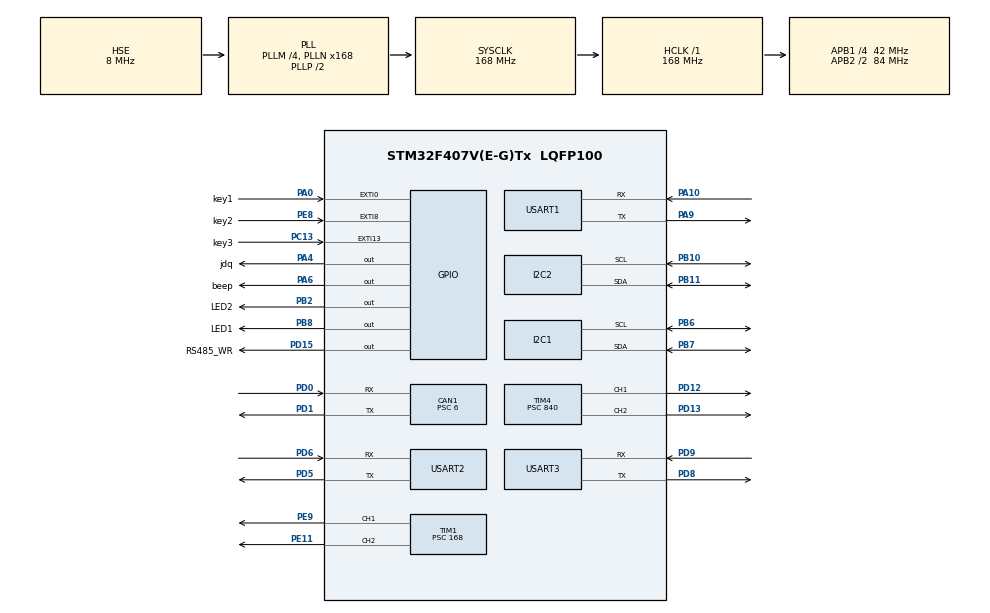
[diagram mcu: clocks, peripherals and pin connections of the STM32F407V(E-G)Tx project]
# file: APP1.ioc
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ADC1.Channel-3\#ChannelRegularConversion=ADC_CHANNEL_TEMPSENSOR
ADC1.NbrOfConversionFlag=1
ADC1.Rank-3\#ChannelRegularConversion=1
ADC1.SamplingTime-3\#ChannelRegularConversion=ADC_SAMPLETIME_56CYCLES
ADC1.master=1
CAN1.BS1=CAN_BS1_11TQ
CAN1.BS2=CAN_BS2_2TQ
CAN1.CalculateBaudRate=500000
CAN1.CalculateTimeBit=2000
CAN1.CalculateTimeQuantum=142.85714285714286
CAN1.Prescaler=6
Dma.Request0=USART1_RX
Dma.Request1=USART2_RX
Dma.USART1_RX.0.Direction=DMA_PERIPH_TO_MEMORY
Dma.USART1_RX.0.FIFOMode=DMA_FIFOMODE_DISABLE
Dma.USART1_RX.0.Instance=DMA2_Stream2
Dma.USART1_RX.0.MemDataAlignment=DMA_MDATAALIGN_BYTE
Dma.USART1_RX.0.MemInc=DMA_MINC_ENABLE
Dma.USART1_RX.0.Mode=DMA_CIRCULAR
Dma.USART1_RX.0.PeriphDataAlignment=DMA_PDATAALIGN_BYTE
Dma.USART1_RX.0.PeriphInc=DMA_PINC_DISABLE
Dma.USART1_RX.0.Priority=DMA_PRIORITY_LOW
Dma.USART2_RX.1.Direction=DMA_PERIPH_TO_MEMORY
Dma.USART2_RX.1.FIFOMode=DMA_FIFOMODE_DISABLE
Dma.USART2_RX.1.Instance=DMA1_Stream5
Dma.USART2_RX.1.MemDataAlignment=DMA_MDATAALIGN_BYTE
Dma.USART2_RX.1.MemInc=DMA_MINC_ENABLE
Dma.USART2_RX.1.Mode=DMA_CIRCULAR
Dma.USART2_RX.1.PeriphDataAlignment=DMA_PDATAALIGN_BYTE
Dma.USART2_RX.1.PeriphInc=DMA_PINC_DISABLE
Dma.USART2_RX.1.Priority=DMA_PRIORITY_HIGH
Mcu.Family=STM32F4
Mcu.Name=STM32F407V(E-G)Tx
Mcu.Package=LQFP100
NVIC.CAN1_RX0_IRQn=true\:0\:0\:false\:false\:true\:true\:true\:true
NVIC.DMA1_Stream5_IRQn=true\:0\:0\:false\:false\:true\:false\:true\:true
NVIC.DMA2_Stream2_IRQn=true\:5\:0\:true\:false\:true\:false\:true\:true
NVIC.EXTI15_10_IRQn=true\:5\:0\:true\:false\:true\:true\:true\:true
NVIC.EXTI9_5_IRQn=true\:5\:0\:true\:false\:true\:true\:true\:true
NVIC.PriorityGroup=NVIC_PRIORITYGROUP_4
NVIC.TIM2_IRQn=true\:0\:0\:false\:false\:true\:true\:true\:true
NVIC.TIM3_IRQn=true\:5\:0\:true\:false\:true\:true\:true\:true
NVIC.TIM4_IRQn=true\:5\:0\:true\:false\:false\:true\:true\:true
NVIC.TIM5_IRQn=true\:0\:0\:false\:false\:true\:true\:true\:true
NVIC.TIM7_IRQn=true\:5\:0\:true\:false\:true\:false\:true\:true
NVIC.TimeBase=TIM7_IRQn
NVIC.TimeBaseIP=TIM7
NVIC.USART1_IRQn=true\:5\:0\:true\:false\:false\:true\:true\:true
NVIC.USART2_IRQn=true\:0\:0\:false\:false\:true\:true\:true\:true
NVIC.USART3_IRQn=true\:5\:0\:true\:false\:false\:true\:true\:true
NVIC.WWDG_IRQn=true\:5\:0\:true\:false\:true\:true\:true\:true
PA0-WKUP.GPIO_Label=key1
PA0-WKUP.Signal=GPXTI0
PA10.Mode=Asynchronous
PA10.Signal=USART1_RX
PA13.Mode=Serial_Wire
PA13.Signal=SYS_JTMS-SWDIO
PA14.Mode=Serial_Wire
PA14.Signal=SYS_JTCK-SWCLK
PA4.GPIO_Label=jdq
PA4.PinState=GPIO_PIN_SET
PA4.Signal=GPIO_Output
PA6.GPIO_Label=beep
PA6.Signal=GPIO_Output
PA9.Mode=Asynchronous
PA9.Signal=USART1_TX
PB10.Mode=I2C
PB10.Signal=I2C2_SCL
PB11.Mode=I2C
PB11.Signal=I2C2_SDA
PB2.GPIO_Label=LED2
PB2.PinState=GPIO_PIN_RESET
PB2.Signal=GPIO_Output
PB6.Mode=I2C
PB6.Signal=I2C1_SCL
PB7.Mode=I2C
PB7.Signal=I2C1_SDA
PB8.GPIO_Label=LED1
PB8.GPIO_ModeDefaultOutputPP=GPIO_MODE_OUTPUT_PP
PB8.PinState=GPIO_PIN_SET
PB8.Signal=GPIO_Output
PC0.Signal=ADCx_IN10
PC13-ANTI_TAMP.GPIO_Label=key3
PC13-ANTI_TAMP.GPIO_PuPd=GPIO_PULLDOWN
PC13-ANTI_TAMP.Signal=GPXTI13
PC14-OSC32_IN.Mode=LSE-External-Oscillator
PC14-OSC32_IN.Signal=RCC_OSC32_IN
PC15-OSC32_OUT.Mode=LSE-External-Oscillator
PC15-OSC32_OUT.Signal=RCC_OSC32_OUT
PD0.Mode=CAN_Activate
PD0.Signal=CAN1_RX
PD1.Mode=CAN_Activate
PD1.Signal=CAN1_TX
PD12.Signal=S_TIM4_CH1
PD13.Signal=S_TIM4_CH2
PD15.GPIO_Label=RS485_WR
PD15.GPIO_Speed=GPIO_SPEED_FREQ_HIGH
PD15.Signal=GPIO_Output
PD5.Mode=Asynchronous
PD5.Signal=USART2_TX
PD6.Mode=Asynchronous
PD6.Signal=USART2_RX
PD8.Mode=Asynchronous
PD8.Signal=USART3_TX
PD9.Mode=Asynchronous
PD9.Signal=USART3_RX
PE11.Signal=S_TIM1_CH2
PE8.GPIO_Label=key2
PE8.GPIO_PuPd=GPIO_PULLDOWN
PE8.Signal=GPXTI8
PE9.Signal=S_TIM1_CH1
PH0-OSC_IN.Mode=HSE-External-Oscillator
PH0-OSC_IN.Signal=RCC_OSC_IN
PH1-OSC_OUT.Mode=HSE-External-Oscillator
PH1-OSC_OUT.Signal=RCC_OSC_OUT
ProjectManager.HeapSize=0x400
ProjectManager.StackSize=0x800
ProjectManager.TargetToolchain=CMake
RCC.48MHZClocksFreq_Value=84000000
RCC.AHBFreq_Value=168000000
RCC.APB1CLKDivider=RCC_HCLK_DIV4
RCC.APB1Freq_Value=42000000
RCC.APB1TimFreq_Value=84000000
RCC.APB2CLKDivider=RCC_HCLK_DIV2
RCC.APB2Freq_Value=84000000
RCC.APB2TimFreq_Value=168000000
RCC.CortexFreq_Value=168000000
RCC.HCLKFreq_Value=168000000
RCC.HSE_VALUE=8000000
RCC.HSI_VALUE=16000000
RCC.PLLM=4
RCC.PLLN=168
RCC.PLLSourceVirtual=RCC_PLLSOURCE_HSE
RCC.RCC_RTC_Clock_Source=RCC_RTCCLKSOURCE_LSE
RCC.RCC_RTC_Clock_SourceVirtual=RCC_RTCCLKSOURCE_LSE
RCC.SYSCLKFreq_VALUE=168000000
RCC.SYSCLKSource=RCC_SYSCLKSOURCE_PLLCLK
RCC.VCOOutputFreq_Value=336000000
RTC.Date=13
RTC.Hours=18
RTC.Minutes=5
RTC.Month=RTC_MONTH_MAY
RTC.Year=26
SH.ADCx_IN10.0=ADC1_IN10
SH.S_TIM1_CH1.0=TIM1_CH1,PWM Generation1 CH1
SH.S_TIM1_CH2.0=TIM1_CH2,PWM Generation2 CH2
SH.S_TIM4_CH1.0=TIM4_CH1,PWM Generation1 CH1
SH.S_TIM4_CH2.0=TIM4_CH2,PWM Generation2 CH2
TIM1.Channel-PWM\ Generation1\ CH1=TIM_CHANNEL_1
TIM1.Channel-PWM\ Generation2\ CH2=TIM_CHANNEL_2
TIM1.Period=100
TIM1.Prescaler=168
TIM2.AutoReloadPreload=TIM_AUTORELOAD_PRELOAD_ENABLE
TIM2.Period=2000
TIM2.Prescaler=84-1
TIM3.AutoReloadPreload=TIM_AUTORELOAD_PRELOAD_ENABLE
TIM3.Period=5000
TIM3.Prescaler=8400-1
TIM4.AutoReloadPreload=TIM_AUTORELOAD_PRELOAD_ENABLE
TIM4.Channel-PWM\ Generation1\ CH1=TIM_CHANNEL_1
TIM4.Channel-PWM\ Generation2\ CH2=TIM_CHANNEL_2
TIM4.OCMode_PWM-PWM\ Generation2\ CH2=TIM_OCMODE_PWM1
TIM4.Period=100
TIM4.Prescaler=840
TIM5.Period=10
TIM5.Prescaler=840-1
USART1.VirtualMode=VM_ASYNC
USART2.VirtualMode=VM_ASYNC
USART3.VirtualMode=VM_ASYNC
VP_ADC1_TempSens_Input.Mode=IN-TempSens
VP_CRC_VS_CRC.Mode=CRC_Activate
VP_IWDG_VS_IWDG.Mode=IWDG_Activate
VP_RTC_VS_RTC_Activate.Mode=RTC_Enabled
VP_RTC_VS_RTC_Calendar.Mode=RTC_Calendar
VP_SYS_VS_tim7.Mode=TIM7
VP_TIM1_VS_ClockSourceINT.Mode=Internal
VP_TIM2_VS_ClockSourceINT.Mode=Internal
VP_TIM3_VS_ClockSourceINT.Mode=Internal
VP_TIM4_VS_ClockSourceINT.Mode=Internal
VP_TIM5_VS_ClockSourceINT.Mode=Internal
VP_WWDG_VS_WWDG.Mode=WWDG_Activate
WWDG.Counter=127
WWDG.EWIMode=WWDG_EWI_ENABLE
WWDG.Prescaler=WWDG_PRESCALER_8
WWDG.Window=95
board=custom

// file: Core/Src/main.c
/* USER CODE BEGIN Header */
/**
  ******************************************************************************
  * @file           : main.c
  * @brief          : Main program body
  ******************************************************************************
  * @attention
  *
  * Copyright (c) 2026 STMicroelectronics.
  * All rights reserved.
  *
  * This software is licensed under terms that can be found in the LICENSE file
  * in the root directory of this software component.
  * If no LICENSE file comes with this software, it is provided AS-IS.
  *
  ******************************************************************************
  */
/* USER CODE END Header */
#include "main.h"
#include "adc.h"
#include "can.h"
#include "crc.h"
#include "dma.h"
#include "i2c.h"
#include "iwdg.h"
#include "rtc.h"
#include "tim.h"
#include "usart.h"
#include "wwdg.h"
#include "gpio.h"

/* USER CODE BEGIN Includes */
#include "stdio.h"
#include "AHT20.h"
#include "FreeRTOS_Demo.h"
#include "ina226.h"
#include "sd3078.h"
#include "mb.h"
#include "modbus.h"
#include "wifi4g.h"
#include "mqtt.h"
#include "canfestival.h"
#include "flash.h"
#include "testslave.h"
#include "../../Core/Inc/can.h"
/* USER CODE END Includes */

void SystemClock_Config(void);

int main(void)
{

  /* USER CODE BEGIN 1 */
  /*************************** 中断向量表动态偏移 *******************************/
  // 优先级: 看门狗恢复标志(-8) > 运行标志(-4) > 默认APP2
  uint32_t app1_wdt_flag = MyFlash_ReadWord(Application_1_Addr + Application_Size - 8);
  uint32_t app2_wdt_flag = MyFlash_ReadWord(Application_2_Addr + Application_Size - 8);
  /*************************** 看门狗恢复标志检查 *******************************/
  if (app1_wdt_flag == 0x55555555) {
    SCB->VTOR = FLASH_BASE | Application_1_Addr;
  } else if (app2_wdt_flag == 0x55555555) {
    SCB->VTOR = FLASH_BASE | Application_2_Addr;
  } else {
  /*************************** 运行标志检查 *******************************/
    uint32_t app1_run_flag = MyFlash_ReadWord(Application_1_Addr + Application_Size - 4);
    uint32_t app2_run_flag = MyFlash_ReadWord(Application_2_Addr + Application_Size - 4);

    if (app1_run_flag == 0xAAAAAAAA) {
      SCB->VTOR = FLASH_BASE | Application_1_Addr;
    } else if (app2_run_flag == 0xAAAAAAAA) {
      SCB->VTOR = FLASH_BASE | Application_2_Addr;
    } else {
      SCB->VTOR = FLASH_BASE | Application_2_Addr;  // 默认APP2
    }
  }
  __enable_irq();
  /*************************** 中断向量表偏移完成 *******************************/
  /* USER CODE END 1 */

  /* MCU Configuration--------------------------------------------------------*/

  /* Reset of all peripherals, Initializes the Flash interface and the Systick. */
  HAL_Init();

  /* Configure the system clock */
  SystemClock_Config();
  MX_IWDG_Init();
  /* USER CODE BEGIN SysInit */
  /***************************自动偏移中断向量表地址（根据app1或app2的更新标志位来判断）*******************************/

  /* USER CODE END SysInit */

  /* Initialize all configured peripherals */
  MX_GPIO_Init();
  MX_DMA_Init();
  MX_USART1_UART_Init();
  MX_I2C1_Init();
  MX_TIM1_Init();
  MX_TIM4_Init();
  MX_I2C2_Init();
  // MX_WWDG_Init();
  MX_RTC_Init();
  MX_ADC1_Init();

  MX_USART2_UART_Init();
  MX_USART3_UART_Init();
  MX_TIM3_Init();
  MX_TIM5_Init();
  MX_CAN1_Init();
  MX_TIM2_Init();
  MX_CRC_Init();
  HAL_IWDG_Refresh(&hiwdg) ; // 刷新看门狗
  /* USER CODE BEGIN 2 */
 // HAL_UART_Receive_IT(&huart1, RX1_Buf , 16); // 使能串UART1接收中断

  /*
  //定时器5 用于10ms中断,//                             不自动重装计数器
  //定时器2 用于1us中断, 用于更新时间
  //定时器3用于500ms中断, 用于modbus通信更新传感器数据时间   自动重装计数器
  //定时器4 用于modbus通信50us定时器//  被modbus使用
  //定时器7 用于hal 1ms中断, 用于更新时间
  //定时器sysTick 用于freeRTOS系统时间更新
  //串口3 用于modbus通信
  //串口2 用于wifi4g（mqtt）通信
  //串口1 用于主机通信
  */
  // RTC_Time_t t = {
  //       .sec   =  0,
  //       .min   = 46,
  //       .hour  = 0,
  //       .week  =  6,                  // 会自动修正，任意值即可
  //       .day   = 17,
  //       .month =  5,
  //       .year  = 2026 % 100
  //   };

  printf("MQTT TEST\n");
  // printf("PWR Sleep Test\n");
  __HAL_UART_ENABLE_IT(&huart1, UART_IT_IDLE); //使能串UART1 IDLE(空闲)中断
  HAL_UART_Receive_DMA(&huart1, RX1_Buf, DMA_BUF_SIZE); //设置DMA传输，将uart1的数据搬运到RX1_Buf中
  __HAL_UART_ENABLE_IT(&huart2, UART_IT_IDLE); //使能串UART2 IDLE(空闲)中断
  HAL_UART_Receive_DMA(&huart2, RX2_Buf, DMA_BUF_SIZE); //设置DMA传输，将uart2的数据搬运到RX2_Buf中
  // OLED_Init();
  // OLED_Fill(0x00);//全屏灭
  AHT20_Init();
  INA226_Init();

  // SD3078_SetTime((RTC_Time_t *)&t);
  // RTC_SetDateTime(26,5,17,0,46,0);
  /*************************** 写入运行标志(仅首次启动) *******************************/
  // Flash物理限制: 只能1→0, 0→1需擦除. 0x00000000无法写回0xAAAAAAAA
  // 因此仅在擦除态(0xFFFFFFFF)时写入, OTA后已写好/看门狗恢复时则跳过
  if (MyFlash_ReadWord(Application_2_Addr + Application_Size - 4) == 0xFFFFFFFF) {
    uint32_t update2_flag = 0xAAAAAAAA;
    MyFlash_Save(Application_2_Addr + Application_Size - 4, (char *)&update2_flag, 4);
  }
  /*************************** 运行标志写入完成 *******************************/
  FreeRTOS_Start();
  /* USER CODE END 2 */

  /* Infinite loop */
  /* USER CODE BEGIN WHILE */
  while (1)
  {
    // eMBPoll();
//     Modbus_parse();
// 	  ADC_CPU_Test();
// 	  AHT20_Test();
// //	  ADC_VR_Test();
// 	  RTC_Test();
// 	  //HAL_Delay(1000);
// 	  SD3078_GetTime((RTC_Time_t *)&t);
// 	 printf("%04d-%02d-%02d %02d:%02d:%02d\n",2000+t.year,t.month,t.day,
// t.hour,t.min,t.sec);

//	GPIO_Control(LED1,OFF); // LED1 亮
//    HAL_Delay(2000); //  延时2秒
//    GPIO_Control(LED1,ON); // LED1 灭
//    printf("System is Running\n");
//    // 使用 LED2指示, 系统进入睡眠模式
//   // GPIO_Control(LED2,ON);  // LED2 亮
//    HAL_SuspendTick() ;// 暂停 滴答定时器 ， 因为嘀嗒定时器会产生1ms的中断， 必须关掉
//    printf("System is sleeping\n");
//    HAL_PWR_EnterSLEEPMode(PWR_MAINREGULATOR_ON,PWR_SLEEPENTRY_WFI) ; // 进入睡眠模式
//    // 等待被唤醒 ........  , 可以按下6个按键中的任何一个即可唤醒 , 最好按下ESC,因为ESC默认动作时关闭蜂鸣器
//    // 被唤醒后
//    printf("System is wakeup\n");
//  //  GPIO_Control(LED1,OFF);  // LED2 灭
//    HAL_ResumeTick(); //  恢复滴答定时器的计时
    /* USER CODE END WHILE */

  }
}

void SystemClock_Config(void)
{
  RCC_OscInitTypeDef RCC_OscInitStruct = {0};
  RCC_ClkInitTypeDef RCC_ClkInitStruct = {0};

  /** Configure the main internal regulator output voltage
  */
  __HAL_RCC_PWR_CLK_ENABLE();
  __HAL_PWR_VOLTAGESCALING_CONFIG(PWR_REGULATOR_VOLTAGE_SCALE1);

  /** Initializes the RCC Oscillators according to the specified parameters
  * in the RCC_OscInitTypeDef structure.
  */
  RCC_OscInitStruct.OscillatorType = RCC_OSCILLATORTYPE_LSI|RCC_OSCILLATORTYPE_HSE
                              |RCC_OSCILLATORTYPE_LSE;
  RCC_OscInitStruct.HSEState = RCC_HSE_ON;
  RCC_OscInitStruct.LSEState = RCC_LSE_ON;
  RCC_OscInitStruct.LSIState = RCC_LSI_ON;
  RCC_OscInitStruct.PLL.PLLState = RCC_PLL_ON;
  RCC_OscInitStruct.PLL.PLLSource = RCC_PLLSOURCE_HSE;
  RCC_OscInitStruct.PLL.PLLM = 4;
  RCC_OscInitStruct.PLL.PLLN = 168;
  RCC_OscInitStruct.PLL.PLLP = RCC_PLLP_DIV2;
  RCC_OscInitStruct.PLL.PLLQ = 4;
  if (HAL_RCC_OscConfig(&RCC_OscInitStruct) != HAL_OK)
  {
    Error_Handler();
  }

  /** Initializes the CPU, AHB and APB buses clocks
  */
  RCC_ClkInitStruct.ClockType = RCC_CLOCKTYPE_HCLK|RCC_CLOCKTYPE_SYSCLK
                              |RCC_CLOCKTYPE_PCLK1|RCC_CLOCKTYPE_PCLK2;
  RCC_ClkInitStruct.SYSCLKSource = RCC_SYSCLKSOURCE_PLLCLK;
  RCC_ClkInitStruct.AHBCLKDivider = RCC_SYSCLK_DIV1;
  RCC_ClkInitStruct.APB1CLKDivider = RCC_HCLK_DIV4;
  RCC_ClkInitStruct.APB2CLKDivider = RCC_HCLK_DIV2;

  if (HAL_RCC_ClockConfig(&RCC_ClkInitStruct, FLASH_LATENCY_5) != HAL_OK)
  {
    Error_Handler();
  }
}

void HAL_TIM_PeriodElapsedCallback(TIM_HandleTypeDef *htim)
{
  if (htim->Instance == TIM7)
  {
    HAL_IncTick();
  }
  /* USER CODE BEGIN Callback 1 */
  if(htim->Instance == TIM3) {
    TIM3_Timerout_Flag=1;
    static uint16_t MQTTsenior_updata=0;
    MQTTsenior_updata++;
    if (MQTTsenior_updata>10) {
      MQTTsenior_updata=0;
      MQTTUpLoad_flag=1;
    }
  }
  if (htim->Instance == TIM5) {
    HAL_TIM_Base_Stop(&htim5);
    WIFI4G_CMD_Status = WIFI4G_Parse_Queue(&QUART2);
  }
  /* USER CODE END Callback 1 */
}

void Error_Handler(void)
{
  __disable_irq();
  while (1)
  {
  }
}
